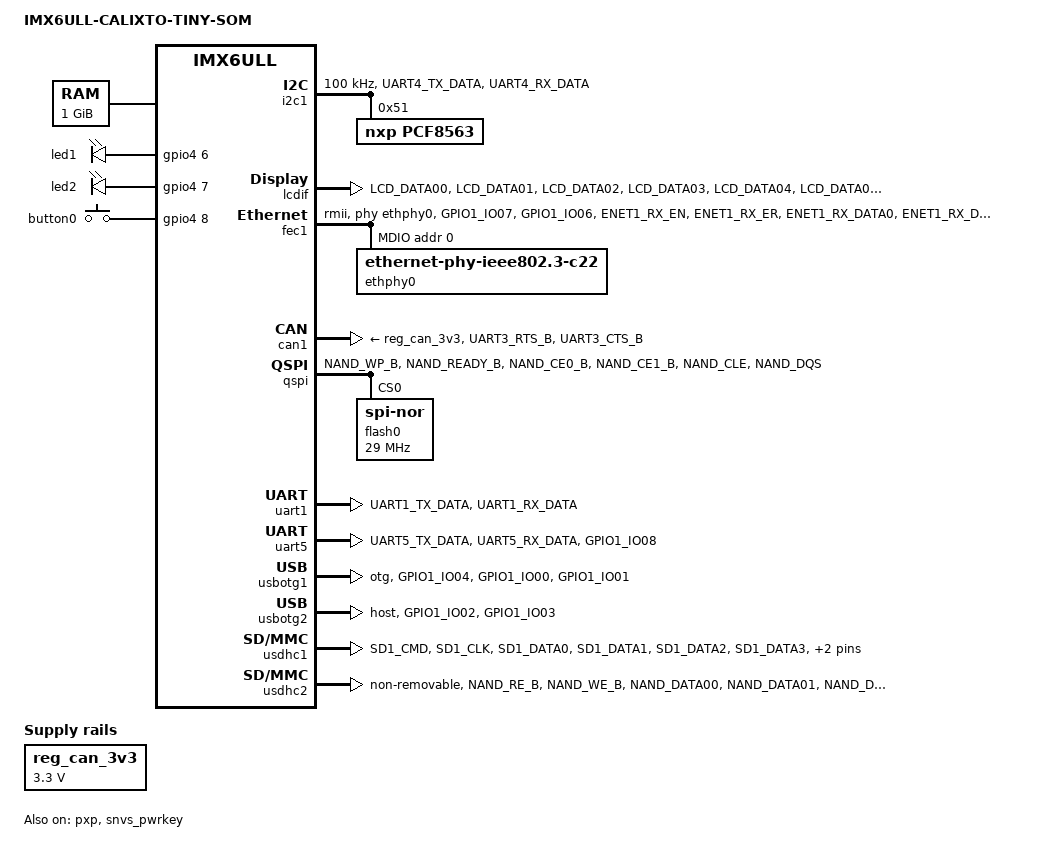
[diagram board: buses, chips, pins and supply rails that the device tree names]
// SPDX-License-Identifier: (GPL-2.0 OR MIT)
/*
 * Copyright (C) 2024-2025 Calixto Systems Pvt Ltd - https://www.calixtosystems.com/
 *
 */

/dts-v1/;

#include "imx6ull.dtsi"

/ {
	model = "IMX6ULL-CALIXTO-TINY-SOM";
	compatible = "calixto,imx6ull-calixto-tiny-som", "fsl,imx6ull";

	aliases {
		ethernet0 = &fec1;
		i2c0 = &i2c1;
	};

	chosen {
		stdout-path = &uart1;
	};

	memory@80000000 {
		device_type = "memory";
		reg = <0x00000000 0x80000000 0x00000000 0x40000000>;
	};

	reserved-memory {
		#address-cells = <1>;
		#size-cells = <1>;
		ranges;

		linux,cma {
			compatible = "shared-dma-pool";
			reusable;
			size = <0xa000000>;
			linux,cma-default;
		};
	};

	pxp_v4l2 {
		compatible = "fsl,imx6ul-pxp-v4l2", "fsl,imx6sx-pxp-v4l2", "fsl,imx6sl-pxp-v4l2";
		status = "okay";
	};

	reg_can_3v3: regulator-can-3v3 {
		compatible = "regulator-fixed";
		regulator-name = "can-3v3";
		regulator-min-microvolt = <3300000>;
		regulator-max-microvolt = <3300000>;
	};
	
	leds {
        	pinctrl-names = "default";
        	pinctrl-0 = <&pinctrl_led_gpios>;

        	compatible = "gpio-leds";

        	led1 {
            		label = "led1";
            		gpios = <&gpio4 6 GPIO_ACTIVE_HIGH>;
            		linux,default-trigger = "heartbeat";
            		default-state = "on";
        	};

        	led2 {
            		label = "led2";
            		gpios = <&gpio4 7 GPIO_ACTIVE_HIGH>;
            		linux,default-trigger = "heartbeat";
            		default-state = "on";
        	};
    	};

    	gpio_buttons: gpio_buttons0 {
        	compatible = "gpio-keys";
        	pinctrl-names = "default";
        	pinctrl-0 = <&pinctrl_user_switch_gpio>;
        	#address-cells = <1>;
        	#size-cells = <0>;

        	switch1 {
            		label = "button0";
            		linux,code = <0x100>;
            		gpios = <&gpio4 8 GPIO_ACTIVE_HIGH>;
        	};
    	};

};

&clks {
	assigned-clocks = <&clks IMX6UL_CLK_PLL3_PFD2>,
			  <&clks IMX6UL_CLK_PLL4_AUDIO_DIV>;
	assigned-clock-rates = <320000000>, <786432000>;
};

&i2c1 {
	clock-frequency = <100000>;
	pinctrl-names = "default";
	pinctrl-0 = <&pinctrl_i2c1>;
	status = "okay";

	pcf8563@51 {
		status = "okay";
		compatible = "nxp,pcf8563";
		reg = <0x51>;
	};
};

&lcdif {
	pinctrl-names = "default";
	pinctrl-0 = <&pinctrl_lcdif_dat
		     &pinctrl_lcdif_ctrl>;
	display = <&display0>;
	status = "okay";

	display0: display0 {
		bits-per-pixel = <16>;
		bus-width = <24>;

		display-timings {
			native-mode = <&timing0>;
			timing0: timing0 {
			clock-frequency = <9000000>;
			hactive = <480>;
			vactive = <272>;
			hfront-porch = <8>;
			hback-porch = <4>;
			hsync-len = <41>;
			vback-porch = <2>;
			vfront-porch = <4>;
			vsync-len = <10>;

			hsync-active = <0>;
			vsync-active = <0>;
			de-active = <1>;
			pixelclk-active = <0>;
			};
		};
	};
};

&fec1 {
	pinctrl-names = "default";
	pinctrl-0 = <&pinctrl_enet1>;
	phy-mode = "rmii";
	phy-handle = <&ethphy0>;
	status = "okay";
	
	mdio {
		#address-cells = <1>;
		#size-cells = <0>;
		
		ethphy0: ethernet-phy@0 {
			compatible = "ethernet-phy-ieee802.3-c22";
			reg = <0>;
			clocks = <&clks IMX6UL_CLK_ENET_REF>;
			clock-names = "rmii-ref";

		};
	};
};

&can1 {
	pinctrl-names = "default";
	pinctrl-0 = <&pinctrl_flexcan1>;
	xceiver-supply = <&reg_can_3v3>;
	status = "okay";
};

&pxp {
	status = "okay";
};

&qspi {
	pinctrl-names = "default";
	pinctrl-0 = <&pinctrl_qspi>;
	status = "okay";

	flash0: flash@0 {
		#address-cells = <1>;
		#size-cells = <1>;
		compatible = "jedec,spi-nor";
		spi-max-frequency = <29000000>;
		spi-rx-bus-width = <4>;
		spi-tx-bus-width = <1>;
		reg = <0>;
	};
};

&snvs_poweroff {
	status = "okay";
};

&snvs_pwrkey {
	status = "okay";
};

&uart1 {
	pinctrl-names = "default";
	pinctrl-0 = <&pinctrl_uart1>;
	status = "okay";
};

&uart5 {
	pinctrl-names = "default";
	pinctrl-0 = <&pinctrl_uart5>;
	status = "okay";
};

&usbotg1 {
	dr_mode = "otg";
	pinctrl-names = "default";
	pinctrl-0 = <&pinctrl_usb_otg1_pwr>;
	status = "okay";
};
        
&usbotg2 {
	dr_mode = "host";
	disable-over-current;
	pinctrl-names = "default";
        pinctrl-0 = <&pinctrl_usb_otg2_pwr>;
	status = "okay";
};

&usbphy1 {
	fsl,tx-d-cal = <106>;
};

&usbphy2 {
	fsl,tx-d-cal = <106>;
};

&usdhc1 {
	pinctrl-names = "default";
	pinctrl-0 = <&pinctrl_usdhc1>;
	cd-gpios = <&gpio1 19 GPIO_ACTIVE_LOW>;
	status = "okay";
};

&usdhc2 {
	pinctrl-names = "default";
	pinctrl-0 = <&pinctrl_usdhc2>;
	non-removable;
	keep-power-in-suspend;
	wakeup-source;
	status = "okay";
};

&iomuxc {

	pinctrl_lcdif_ctrl: lcdifctrlgrp {
			fsl,pins = <
				MX6UL_PAD_LCD_CLK__LCDIF_CLK	    0x79
				MX6UL_PAD_LCD_ENABLE__LCDIF_ENABLE  0x79
				MX6UL_PAD_LCD_HSYNC__LCDIF_HSYNC    0x79
				MX6UL_PAD_LCD_VSYNC__LCDIF_VSYNC    0x79
			>;
	};

	pinctrl_lcdif_dat: lcdifdatgrp {
			fsl,pins = <
				MX6UL_PAD_LCD_DATA00__LCDIF_DATA00  0x79
				MX6UL_PAD_LCD_DATA01__LCDIF_DATA01  0x79
				MX6UL_PAD_LCD_DATA02__LCDIF_DATA02  0x79
				MX6UL_PAD_LCD_DATA03__LCDIF_DATA03  0x79
				MX6UL_PAD_LCD_DATA04__LCDIF_DATA04  0x79
				MX6UL_PAD_LCD_DATA05__LCDIF_DATA05  0x79
				MX6UL_PAD_LCD_DATA06__LCDIF_DATA06  0x79
				MX6UL_PAD_LCD_DATA07__LCDIF_DATA07  0x79
				MX6UL_PAD_LCD_DATA08__LCDIF_DATA08  0x79
				MX6UL_PAD_LCD_DATA09__LCDIF_DATA09  0x79
				MX6UL_PAD_LCD_DATA10__LCDIF_DATA10  0x79
				MX6UL_PAD_LCD_DATA11__LCDIF_DATA11  0x79
				MX6UL_PAD_LCD_DATA12__LCDIF_DATA12  0x79
				MX6UL_PAD_LCD_DATA13__LCDIF_DATA13  0x79
				MX6UL_PAD_LCD_DATA14__LCDIF_DATA14  0x79
				MX6UL_PAD_LCD_DATA15__LCDIF_DATA15  0x79
				MX6UL_PAD_LCD_DATA16__LCDIF_DATA16  0x79
				MX6UL_PAD_LCD_DATA17__LCDIF_DATA17  0x79
				MX6UL_PAD_LCD_DATA18__LCDIF_DATA18  0x79
				MX6UL_PAD_LCD_DATA19__LCDIF_DATA19  0x79
				MX6UL_PAD_LCD_DATA20__LCDIF_DATA20  0x79
				MX6UL_PAD_LCD_DATA21__LCDIF_DATA21  0x79
				MX6UL_PAD_LCD_DATA22__LCDIF_DATA22  0x79
				MX6UL_PAD_LCD_DATA23__LCDIF_DATA23  0x79
			>;
	};
	
	pinctrl_enet1: enet1grp {
		fsl,pins = <
			MX6UL_PAD_GPIO1_IO07__ENET1_MDC		0x1b0b0
			MX6UL_PAD_GPIO1_IO06__ENET1_MDIO	0x1b0b0
			MX6UL_PAD_ENET1_RX_EN__ENET1_RX_EN	0x1b0b0
			MX6UL_PAD_ENET1_RX_ER__ENET1_RX_ER	0x1b0b0
			MX6UL_PAD_ENET1_RX_DATA0__ENET1_RDATA00	0x1b0b0
			MX6UL_PAD_ENET1_RX_DATA1__ENET1_RDATA01	0x1b0b0
			MX6UL_PAD_ENET1_TX_EN__ENET1_TX_EN	0x1b0b0
			MX6UL_PAD_ENET1_TX_DATA0__ENET1_TDATA00	0x1b0b0
			MX6UL_PAD_ENET1_TX_DATA1__ENET1_TDATA01	0x1b0b0
			MX6UL_PAD_ENET1_TX_CLK__ENET1_REF_CLK1	0x4001b031
		>;
	};

	pinctrl_led_gpios: gpiogrp {
        	fsl,pins = <
        		MX6UL_PAD_NAND_DATA04__GPIO4_IO06	0x17059
        		MX6UL_PAD_NAND_DATA05__GPIO4_IO07	0x17059
        	>;
        };
        
        pinctrl_user_switch_gpio: gpiogrp1 {
        	fsl,pins = <
        		MX6UL_PAD_NAND_DATA06__GPIO4_IO08	0x17059
        	>;
        };
        
	pinctrl_flexcan1: flexcan1grp{
		fsl,pins = <
			MX6UL_PAD_UART3_RTS_B__FLEXCAN1_RX 0x1b020
			MX6UL_PAD_UART3_CTS_B__FLEXCAN1_TX 0x1b020
		>;
	};

	pinctrl_i2c1: i2c1grp {
		fsl,pins = <
			MX6UL_PAD_UART4_TX_DATA__I2C1_SCL 0x4001b8b0
			MX6UL_PAD_UART4_RX_DATA__I2C1_SDA 0x4001b8b0
		>;
	};

	pinctrl_qspi: qspigrp {
		fsl,pins = <
			MX6UL_PAD_NAND_WP_B__QSPI_A_SCLK	0x70a1
			MX6UL_PAD_NAND_READY_B__QSPI_A_DATA00	0x70a1
			MX6UL_PAD_NAND_CE0_B__QSPI_A_DATA01	0x70a1
			MX6UL_PAD_NAND_CE1_B__QSPI_A_DATA02	0x70a1
			MX6UL_PAD_NAND_CLE__QSPI_A_DATA03	0x70a1
			MX6UL_PAD_NAND_DQS__QSPI_A_SS0_B	0x70a1
		>;
	};


	pinctrl_uart1: uart1grp {
		fsl,pins = <
			MX6UL_PAD_UART1_TX_DATA__UART1_DCE_TX 0x1b0b1
			MX6UL_PAD_UART1_RX_DATA__UART1_DCE_RX 0x1b0b1
		>;
	};
		
	pinctrl_uart5: uart5grp {
		fsl,pins = <
			MX6UL_PAD_UART5_TX_DATA__UART5_DCE_TX 0x1b0b1
			MX6UL_PAD_UART5_RX_DATA__UART5_DCE_RX 0x1b0b1
			MX6UL_PAD_GPIO1_IO08__GPIO1_IO08      0x1b0b1	
		>;
	};
	
	pinctrl_usb_otg1_pwr: usbotg1grp {
		fsl,pins = <
			MX6UL_PAD_GPIO1_IO04__USB_OTG1_PWR	0x17059
			MX6UL_PAD_GPIO1_IO00__ANATOP_OTG1_ID	0x17059
			MX6UL_PAD_GPIO1_IO01__USB_OTG1_OC	0x17059	
		>;
	};
	
	pinctrl_usb_otg2_pwr: usbotg2grp {
		fsl,pins = <
			MX6UL_PAD_GPIO1_IO02__USB_OTG2_PWR	0x17059
			MX6UL_PAD_GPIO1_IO03__USB_OTG2_OC	0x17059	
		>;
	};
		
	pinctrl_usdhc1: usdhc1grp {
		fsl,pins = <
			MX6UL_PAD_SD1_CMD__USDHC1_CMD     	0x17059
			MX6UL_PAD_SD1_CLK__USDHC1_CLK		0x10071
			MX6UL_PAD_SD1_DATA0__USDHC1_DATA0 	0x17059
			MX6UL_PAD_SD1_DATA1__USDHC1_DATA1 	0x17059
			MX6UL_PAD_SD1_DATA2__USDHC1_DATA2 	0x17059
			MX6UL_PAD_SD1_DATA3__USDHC1_DATA3 	0x17059
			MX6UL_PAD_UART1_RTS_B__USDHC1_CD_B      0x17059 /* SD1 CD */
		>;
	};

	pinctrl_usdhc2: usdhc2grp {
		fsl,pins = <
			MX6UL_PAD_NAND_RE_B__USDHC2_CLK     0x17059
			MX6UL_PAD_NAND_WE_B__USDHC2_CMD     0x17059
			MX6UL_PAD_NAND_DATA00__USDHC2_DATA0 0x17059
			MX6UL_PAD_NAND_DATA01__USDHC2_DATA1 0x17059
			MX6UL_PAD_NAND_DATA02__USDHC2_DATA2 0x17059
			MX6UL_PAD_NAND_DATA03__USDHC2_DATA3 0x17059
		>;
	};

};
